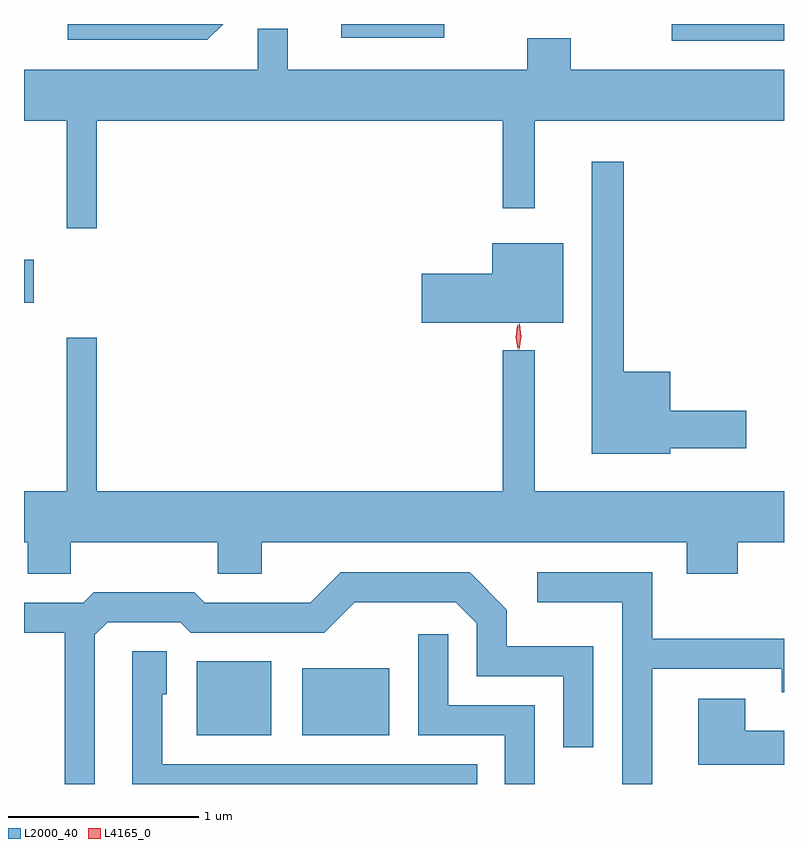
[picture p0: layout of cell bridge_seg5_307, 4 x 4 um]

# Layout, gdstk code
import gdstk
lib = gdstk.Library(unit=1e-6, precision=1e-09)
def R(c, l, rs):  # rectangles x0, y0, x1, y1
    for r in rs: c.add(gdstk.rectangle(r[:2], r[2:], *l))
def P(c, l, *ps):  # polygons
    for p in ps: c.add(gdstk.Polygon(p, *l))
L2000_40 = (2000, 40)
L4165_0 = (4165, 0)

bridge_seg5_307 = lib.new_cell('bridge_seg5_307')
R(bridge_seg5_307, L2000_40, [(679.201,1420.261,679.594,1420.649), (679.756,1420.261,680.214,1420.614), (678.292,1422.536,678.344,1422.764), (681.701,1423.916,682.292,1424.004), (679.963,1423.931,680.504,1424.004)])
P(bridge_seg5_307, L2000_40, [(679.34,1424.004),(678.521,1424.004),(678.521,1423.921),(679.257,1423.921)],
  [(678.674,1423.496),(680.811,1423.496),(680.811,1423.033),(680.979,1423.033),(680.979,1423.496),(682.292,1423.496),(682.292,1423.764),(681.169,1423.764),(681.169,1423.929),(680.941,1423.929),(680.941,1423.764),(679.679,1423.764),(679.679,1423.978),(679.521,1423.978),(679.521,1423.764),(678.292,1423.764),(678.292,1423.496),(678.516,1423.496),(678.516,1422.928),(678.674,1422.928)],
  [(681.694,1421.771),(682.094,1421.771),(682.094,1421.969),(681.694,1421.969),(681.694,1422.174),(681.449,1422.174),(681.449,1423.278),(681.281,1423.278),(681.281,1421.741),(681.694,1421.741)],
  [(681.129,1422.849),(680.756,1422.849),(680.756,1422.689),(680.386,1422.689),(680.386,1422.431),(681.129,1422.431)],
  [(678.539,1421.276),(679.311,1421.276),(679.311,1421.111),(679.544,1421.111),(679.544,1421.276),(681.781,1421.276),(681.781,1421.111),(682.049,1421.111),(682.049,1421.276),(682.292,1421.276),(682.292,1421.544),(680.979,1421.544),(680.979,1422.288),(680.811,1422.288),(680.811,1421.544),(678.674,1421.544),(678.674,1422.353),(678.516,1422.353),(678.516,1421.544),(678.292,1421.544),(678.292,1421.276),(678.311,1421.276),(678.311,1421.111),(678.539,1421.111)],
  [(681.599,1420.611),(682.281,1420.611),(682.281,1420.486),(682.292,1420.486),(682.292,1420.769),(681.599,1420.769),(681.599,1421.119),(680.993,1421.119),(680.993,1420.961),(681.441,1420.961),(681.441,1420.004),(681.599,1420.004)],
  [(678.664,1420.789),(678.732,1420.856),(679.114,1420.856),(679.169,1420.801),(679.872,1420.801),(680.032,1420.961),(680.564,1420.961),(680.676,1420.849),(680.676,1420.571),(681.131,1420.571),(681.131,1420.198),(681.289,1420.198),(681.289,1420.729),(680.834,1420.729),(680.834,1420.922),(680.637,1421.119),(679.959,1421.119),(679.799,1420.959),(679.242,1420.959),(679.187,1421.014),(678.659,1421.014),(678.604,1420.959),(678.292,1420.959),(678.292,1420.801),(678.506,1420.801),(678.506,1420.004),(678.664,1420.004)],
  [(680.979,1420.419),(680.524,1420.419),(680.524,1420.793),(680.366,1420.793),(680.366,1420.261),(680.821,1420.261),(680.821,1420.004),(680.979,1420.004)],
  [(680.678,1420.109),(679.019,1420.109),(679.019,1420.476),(679.044,1420.476),(679.044,1420.704),(678.861,1420.704),(678.861,1420.004),(680.678,1420.004)],
  [(682.292,1420.284),(682.089,1420.284),(682.089,1420.454),(681.841,1420.454),(681.841,1420.106),(682.292,1420.106)])
P(bridge_seg5_307, L4165_0, [(680.898,1422.29),(680.898,1422.29),(680.889,1422.358),(680.899,1422.426),(680.9,1422.426),(680.9,1422.426),(680.909,1422.358),(680.899,1422.29)],
  [(680.89,1422.293),(680.88,1422.356),(680.889,1422.419),(680.889,1422.42),(680.89,1422.419),(680.9,1422.356),(680.891,1422.293),(680.891,1422.293)])

lib.write_gds('bridge_seg5_307.gds')
